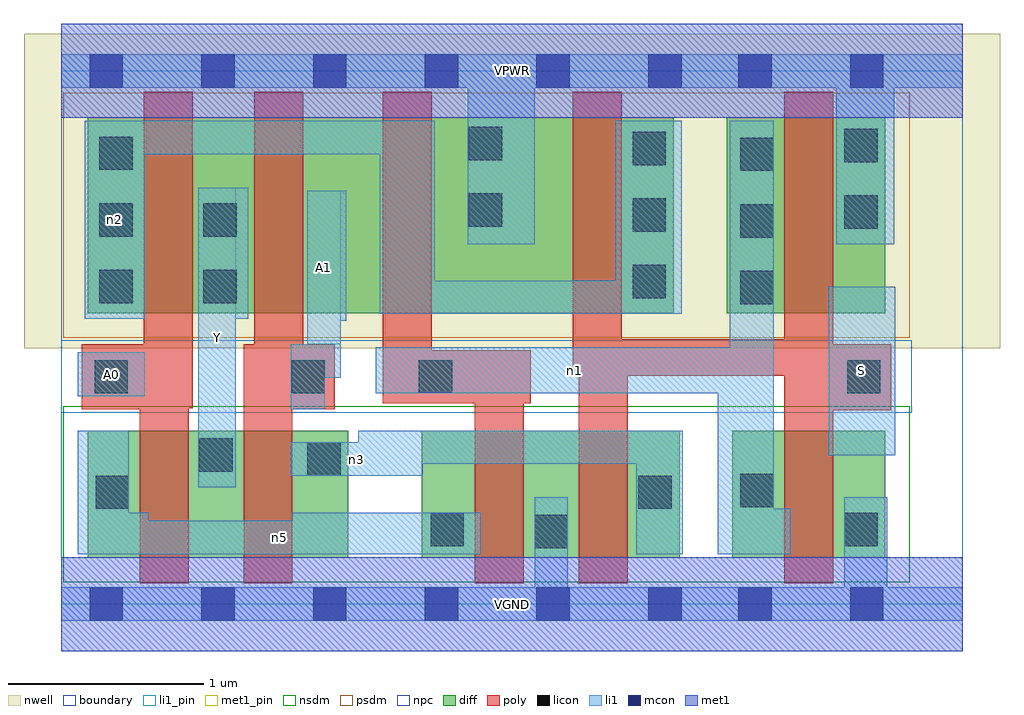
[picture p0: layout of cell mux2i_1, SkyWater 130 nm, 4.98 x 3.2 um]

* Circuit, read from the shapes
.subckt mux2i_1 A0 A1 S VGND VPWR Y n1 n2 n3 n5
XM1 Y A0 n5 VSUBS sky130_fd_pr__nfet_01v8 w=0.65 l=0.25
XM2 n3 A1 Y VSUBS sky130_fd_pr__nfet_01v8 w=0.65 l=0.25
XM3 VGND n1 n5 VSUBS sky130_fd_pr__nfet_01v8 w=0.65 l=0.25
XM4 n3 S VGND VSUBS sky130_fd_pr__nfet_01v8 w=0.65 l=0.25
XM5 VGND S n1 VSUBS sky130_fd_pr__nfet_01v8 w=0.65 l=0.25
XM6 Y A0 n2 n4 sky130_fd_pr__pfet_01v8 w=1 l=0.25
XM7 n6 A1 Y n4 sky130_fd_pr__pfet_01v8 w=1 l=0.25
XM8 VPWR n1 n6 n4 sky130_fd_pr__pfet_01v8 w=1 l=0.25
XM9 n2 S VPWR n4 sky130_fd_pr__pfet_01v8 w=1 l=0.25
XM10 VPWR S n1 n4 sky130_fd_pr__pfet_01v8 w=1 l=0.25
.ends

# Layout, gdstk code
import gdstk
lib = gdstk.Library(unit=1e-6, precision=1e-09)
def R(c, l, rs):  # rectangles x0, y0, x1, y1
    for r in rs: c.add(gdstk.rectangle(r[:2], r[2:], *l))
def A(c, l, x, y, w, h, nx, ny, dx, dy):  # array of equal rectangles
    R(c, l, [(x+i*dx, y+j*dy, x+i*dx+w, y+j*dy+h) for i in range(nx) for j in range(ny)])
nwell = (64, 20)
diff = (65, 20)
poly = (66, 20)
licon = (66, 44)
li1_pin = (67, 16)
li1 = (67, 20)
mcon = (67, 44)
met1_pin = (68, 16)
met1 = (68, 20)
nsdm = (93, 44)
psdm = (94, 20)
npc = (95, 20)
boundary = (235, 4)

mux2i_1 = lib.new_cell('mux2i_1')
R(mux2i_1, nwell, [(-0.19,1.305,4.79,2.91), (0,1.305,4.6,2.91)])
R(mux2i_1, diff, [(0.135,0.235,1.465,0.885), (1.84,0.235,3.155,0.885), (3.425,0.235,4.205,0.885), (0.135,1.485,3.125,2.485), (3.395,1.485,4.205,2.485)])
R(mux2i_1, poly, [(0.4,0.105,0.65,1.325), (0.93,0.105,1.18,1.325), (2.11,0.105,2.36,1.295), (2.64,0.105,2.89,1.35), (3.69,0.105,3.94,2.615), (3.69,0.99,4.235,1.325), (0.105,0.995,0.65,1.325), (0.93,0.995,1.395,1.325), (0.985,0.995,1.235,2.615), (0.42,1,0.67,2.615), (1.64,1.025,1.89,2.615), (1.64,1.025,2.395,1.295), (2.61,1.165,2.86,2.615), (2.61,1.165,3.94,1.35)])
A(mux2i_1, licon, 3.465, 1.53, 0.17, 0.17, 1, 3, 0, 0.34)
A(mux2i_1, licon, 0.195, 1.535, 0.17, 0.17, 1, 3, 0, 0.34)
A(mux2i_1, licon, 2.915, 1.56, 0.17, 0.17, 1, 3, 0, 0.34)
R(mux2i_1, licon, [(2.415,0.285,2.585,0.455), (1.885,0.295,2.055,0.465), (3.995,0.295,4.165,0.465), (0.175,0.485,0.345,0.655), (2.945,0.485,3.115,0.655), (3.465,0.495,3.635,0.665), (1.255,0.655,1.425,0.825), (0.705,0.675,0.875,0.845), (0.17,1.075,0.34,1.245), (1.175,1.075,1.345,1.245), (1.825,1.075,1.995,1.245), (4.01,1.075,4.18,1.245), (0.725,1.535,0.895,1.705), (0.725,1.875,0.895,2.045), (3.995,1.915,4.165,2.085), (2.08,1.925,2.25,2.095), (3.995,2.255,4.165,2.425), (2.08,2.265,2.25,2.435)])
R(mux2i_1, li1_pin, [(0.7,0.595,0.89,2.125), (3.915,0.76,4.255,1.62), (0.085,1.06,0.425,1.285), (1.255,1.325,1.425,2.11)])
R(mux2i_1, li1, [(0,-0.085,4.6,0.085), (2.415,-0.085,2.585,0.545), (3.995,-0.085,4.215,0.545), (0.085,0.255,2.14,0.425), (0.085,0.255,0.345,0.885), (0.085,0.255,0.445,0.465), (1.18,0.255,2.14,0.465), (2.935,0.255,3.17,0.885), (3.35,0.255,3.635,1.31), (3.35,0.255,3.72,0.485), (3.41,0.255,3.635,2.465), (0.7,0.595,0.89,2.125), (1.17,0.655,1.845,0.825), (1.515,0.715,2.935,0.885), (3.915,0.76,4.255,1.62), (1.17,0.995,1.345,1.325), (0.085,1.06,0.425,1.285), (1.605,1.075,3.635,1.31), (1.345,1.155,1.425,2.11), (1.255,1.325,1.425,2.11), (1.255,1.445,1.455,2.11), (0.12,1.455,0.425,2.465), (0.7,1.455,0.955,2.125), (1.625,1.48,3.165,1.65), (1.625,1.48,1.905,2.465), (2.83,1.48,3.165,2.465), (2.075,1.835,2.415,2.805), (3.955,1.835,4.25,2.805), (0.12,2.295,1.905,2.465), (0,2.635,4.6,2.805)])
A(mux2i_1, mcon, 0.145, -0.085, 0.17, 0.17, 6, 2, 0.57, 2.72)
R(mux2i_1, mcon, [(3.455,-0.085,3.625,0.085), (4.025,-0.085,4.195,0.085), (3.455,2.635,3.625,2.805), (4.025,2.635,4.195,2.805)])
R(mux2i_1, met1_pin, [(0,-0.24,4.6,0.24), (0,2.48,4.6,2.96)])
R(mux2i_1, met1, [(0,-0.24,4.6,0.24), (0,2.48,4.6,2.96)])
R(mux2i_1, nsdm, [(0.01,0.11,4.33,1.01)])
R(mux2i_1, psdm, [(0.01,1.36,4.33,2.61)])
R(mux2i_1, npc, [(0,0.975,4.34,1.345)])
R(mux2i_1, boundary, [(0,0,4.6,2.72)])
mux2i_1.add(gdstk.Label('A0', (0.255,1.172), layer=67, texttype=5))
mux2i_1.add(gdstk.Label('A1', (1.34,1.717), layer=67, texttype=5))
mux2i_1.add(gdstk.Label('S', (4.085,1.19), layer=67, texttype=5))
mux2i_1.add(gdstk.Label('Y', (0.795,1.36), layer=67, texttype=5))
mux2i_1.add(gdstk.Label('n5', (1.112,0.34), layer=67, texttype=5))
mux2i_1.add(gdstk.Label('n3', (1.507,0.74), layer=67, texttype=5))
mux2i_1.add(gdstk.Label('n2', (0.272,1.96), layer=67, texttype=5))
mux2i_1.add(gdstk.Label('n1', (2.62,1.192), layer=67, texttype=5))
mux2i_1.add(gdstk.Label('VPWR', (2.3,2.72), layer=68, texttype=5))
mux2i_1.add(gdstk.Label('VGND', (2.3,0), layer=68, texttype=5))
mux2i_1.add(gdstk.Label('A0', (0.255,1.172), layer=67, texttype=16))
mux2i_1.add(gdstk.Label('A1', (1.34,1.717), layer=67, texttype=16))
mux2i_1.add(gdstk.Label('S', (4.085,1.19), layer=67, texttype=16))
mux2i_1.add(gdstk.Label('Y', (0.795,1.36), layer=67, texttype=16))
mux2i_1.add(gdstk.Label('VPWR', (2.3,2.72), layer=68, texttype=16))
mux2i_1.add(gdstk.Label('VGND', (2.3,0), layer=68, texttype=16))

lib.write_gds('mux2i_1.gds')
